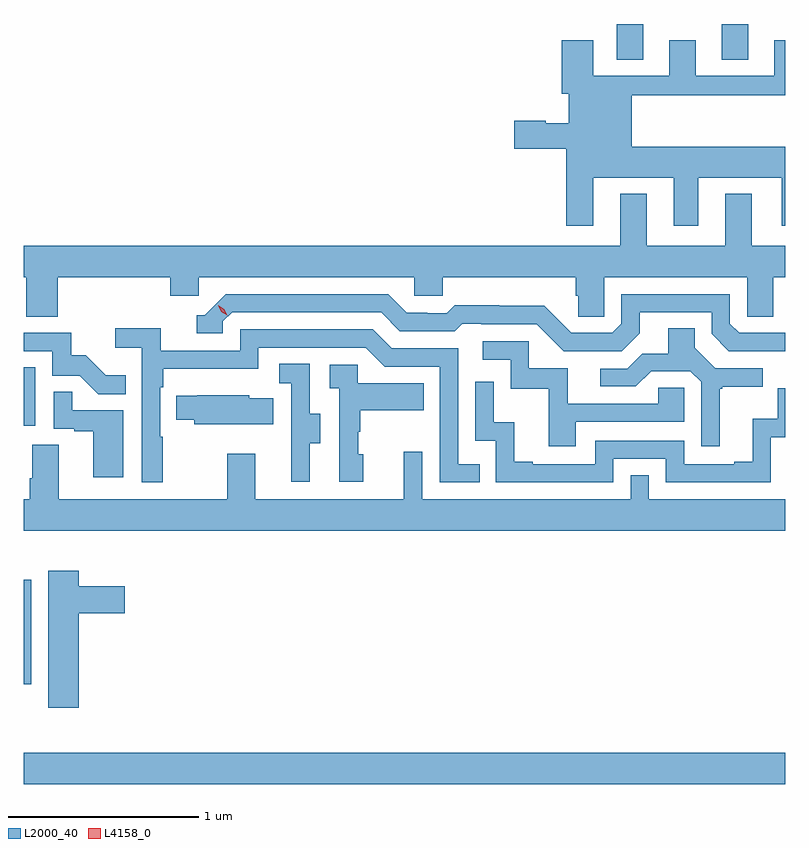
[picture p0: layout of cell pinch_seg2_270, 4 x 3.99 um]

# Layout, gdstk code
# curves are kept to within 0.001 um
import gdstk
lib = gdstk.Library(unit=1e-6, precision=1e-09)
def R(c, l, rs):  # rectangles x0, y0, x1, y1
    for r in rs: c.add(gdstk.rectangle(r[:2], r[2:], *l))
def P(c, l, *ps):  # polygons
    for p in ps: c.add(gdstk.Polygon(p, *l))
L2000_40 = (2000, 40)
L4158_0 = (4158, 0)

pinch_seg2_270 = lib.new_cell('pinch_seg2_270')
R(pinch_seg2_270, L2000_40, [(890.476,652.964,894.476,653.128), (890.476,653.487,890.514,654.038), (890.476,654.846,890.536,655.153), (893.591,656.77,893.731,656.958), (894.143,656.77,894.283,656.958)])
P(pinch_seg2_270, L2000_40, [(893.467,656.15),(893.891,656.15),(893.891,655.899),(894.019,655.899),(894.019,656.15),(894.458,656.15),(894.458,655.899),(894.476,655.899),(894.476,656.314),(893.671,656.314),(893.671,656.584),(894.476,656.584),(894.476,656.872),(894.419,656.872),(894.419,656.685),(894.007,656.685),(894.007,656.872),(893.867,656.872),(893.867,656.685),(893.467,656.685),(893.467,656.872),(893.303,656.872),(893.303,656.592),(893.339,656.592),(893.339,656.437),(893.219,656.437),(893.219,656.45),(893.052,656.45),(893.052,656.303),(893.327,656.303),(893.327,655.899),(893.467,655.899)],
  [(890.654,655.628),(891.245,655.628),(891.245,655.53),(891.396,655.53),(891.396,655.628),(892.527,655.628),(892.527,655.53),(892.677,655.53),(892.677,655.628),(893.375,655.628),(893.375,655.53),(893.389,655.53),(893.389,655.42),(893.526,655.42),(893.526,655.628),(894.276,655.628),(894.276,655.42),(894.415,655.42),(894.415,655.628),(894.476,655.628),(894.476,655.792),(894.301,655.792),(894.301,656.065),(894.161,656.065),(894.161,655.792),(893.749,655.792),(893.749,656.065),(893.609,656.065),(893.609,655.792),(890.476,655.792),(890.476,655.628),(890.489,655.628),(890.489,655.42),(890.654,655.42)],
  [(894.476,655.335),(894.234,655.335),(894.186,655.383),(894.186,655.539),(893.616,655.539),(893.616,655.383),(893.568,655.335),(893.352,655.335),(893.21,655.477),(892.974,655.477),(892.974,655.48),(892.741,655.48),(892.699,655.437),(892.596,655.437),(892.596,655.44),(892.489,655.44),(892.39,655.539),(891.537,655.539),(891.426,655.428),(891.383,655.428),(891.383,655.332),(891.522,655.332),(891.522,655.395),(891.57,655.443),(892.353,655.443),(892.452,655.344),(892.741,655.344),(892.78,655.383),(892.879,655.383),(892.879,655.38),(893.172,655.38),(893.313,655.239),(893.619,655.239),(893.713,655.333),(893.713,655.443),(894.09,655.443),(894.09,655.329),(894.18,655.239),(894.476,655.238)],
  [(894.133,655.041),(894.145,655.041),(894.145,655.052),(894.358,655.052),(894.358,655.149),(894.108,655.149),(894.001,655.256),(894.001,655.358),(893.861,655.358),(893.861,655.226),(893.726,655.226),(893.646,655.146),(893.505,655.146),(893.505,655.053),(893.692,655.053),(893.773,655.134),(893.979,655.134),(894.036,655.077),(894.036,654.738),(894.133,654.738)],
  [(891.205,654.788),(891.192,654.788),(891.192,655.049),(891.209,655.049),(891.209,655.145),(891.708,655.145),(891.708,655.257),(892.272,655.257),(892.371,655.158),(892.662,655.158),(892.662,654.549),(892.871,654.549),(892.871,654.645),(892.758,654.645),(892.758,655.254),(892.408,655.254),(892.309,655.353),(891.612,655.353),(891.612,655.242),(891.194,655.242),(891.194,655.358),(890.955,655.358),(890.955,655.256),(891.096,655.256),(891.096,654.549),(891.205,654.549)],
  [(891.011,655.111),(890.907,655.111),(890.8,655.218),(890.724,655.218),(890.724,655.335),(890.476,655.335),(890.476,655.239),(890.625,655.239),(890.625,655.11),(890.769,655.11),(890.867,655.012),(891.011,655.012)],
  [(893.377,654.867),(893.946,654.867),(893.946,655.047),(893.809,655.047),(893.809,654.963),(893.335,654.963),(893.335,655.149),(893.13,655.149),(893.13,655.29),(892.887,655.29),(892.887,655.194),(893.034,655.194),(893.034,655.041),(893.233,655.041),(893.233,654.738),(893.377,654.738)],
  [(891.979,654.754),(892.033,654.754),(892.033,654.909),(891.978,654.909),(891.978,655.172),(891.819,655.172),(891.819,655.069),(891.882,655.069),(891.882,654.765),(891.881,654.765),(891.881,654.552),(891.979,654.552)],
  [(892.258,654.696),(892.233,654.696),(892.233,654.815),(892.243,654.815),(892.243,654.929),(892.577,654.929),(892.577,655.069),(892.23,655.069),(892.23,655.167),(892.083,655.167),(892.083,655.043),(892.134,655.043),(892.134,654.552),(892.258,654.552)],
  [(893.574,654.672),(893.85,654.672),(893.85,654.549),(894.402,654.549),(894.402,654.785),(894.476,654.785),(894.476,655.044),(894.438,655.044),(894.438,654.883),(894.305,654.883),(894.305,654.658),(894.209,654.658),(894.209,654.645),(893.946,654.645),(893.946,654.768),(893.478,654.768),(893.478,654.645),(893.149,654.645),(893.149,654.658),(893.054,654.658),(893.054,654.866),(892.944,654.866),(892.944,655.078),(892.848,655.078),(892.848,654.768),(892.956,654.768),(892.956,654.549),(893.574,654.549)],
  [(890.998,654.927),(890.729,654.927),(890.729,655.025),(890.634,655.025),(890.634,654.831),(890.741,654.831),(890.741,654.819),(890.84,654.819),(890.84,654.576),(890.998,654.576)],
  [(891.785,654.991),(891.66,654.991),(891.66,655.006),(891.388,655.006),(891.388,655.005),(891.277,655.005),(891.277,654.877),(891.371,654.877),(891.371,654.854),(891.785,654.854)],
  [(894.476,654.46),(893.76,654.46),(893.76,654.587),(893.664,654.587),(893.664,654.46),(892.569,654.46),(892.569,654.709),(892.472,654.709),(892.472,654.46),(891.691,654.46),(891.691,654.7),(891.544,654.7),(891.544,654.46),(890.659,654.46),(890.659,654.746),(890.519,654.746),(890.519,654.572),(890.507,654.572),(890.507,654.46),(890.476,654.46),(890.476,654.296),(894.476,654.296)],
  [(890.764,653.861),(891.007,653.861),(891.007,654.003),(890.764,654.003),(890.764,654.085),(890.603,654.085),(890.603,653.364),(890.764,653.364)])
P(pinch_seg2_270, L4158_0, [(891.544,655.428),(891.514,655.447),(891.498,655.48),(891.498,655.48),(891.498,655.48),(891.529,655.46),(891.545,655.428),(891.545,655.428)])

lib.write_gds('pinch_seg2_270.gds')
